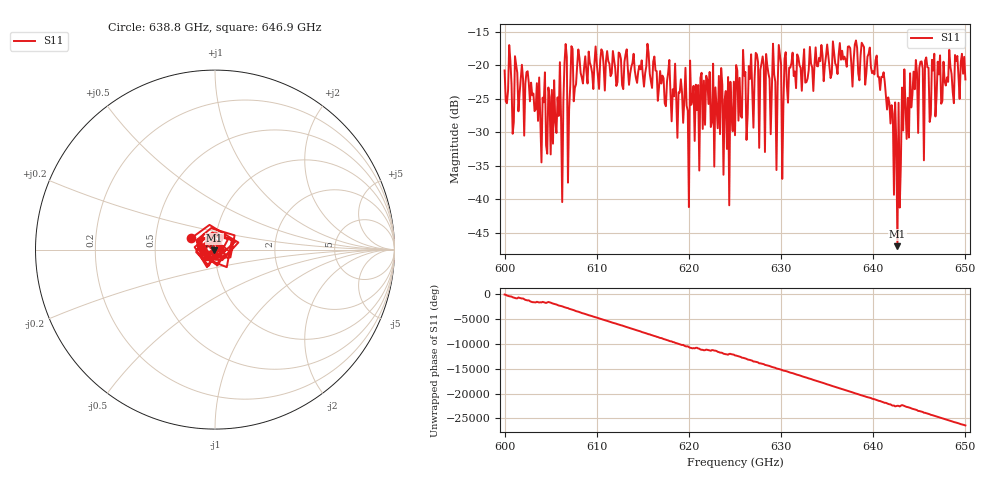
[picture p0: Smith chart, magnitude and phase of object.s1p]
!Created with skrf (http://scikit-rf.org).
# GHz S MA R 50.0
!freq magS11 angS11
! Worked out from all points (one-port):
!   401 points, 600 GHz to 650 GHz, reference 50 ohm
!   lowest |S11| = -47.0 dB at 642.6 GHz (marker M1), VSWR 1.01, Z = 49.7 - j0.282 ohm
!   |S11| at or under -10 dB: start of sweep to end of sweep
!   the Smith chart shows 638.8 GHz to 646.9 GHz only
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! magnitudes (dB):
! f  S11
! 600 GHz  -20.8
! 602.6 GHz  -22.7
! 604.8 GHz  -23.3
! 606.2 GHz  -40.4
! 608.1 GHz  -19.0
! 612.5 GHz  -18.3
! 615.5 GHz  -16.8
! 618.8 GHz  -30.8
! 619.4 GHz  -28.6
! 619.8 GHz  -26.1
! 620.8 GHz  -22.9
! 620.9 GHz  -26.7
! 622.1 GHz  -25.8
! 622.6 GHz  -19.8
! 624.4 GHz  -40.9
! 625 GHz  -30.5
! 627.2 GHz  -18.2
! 630.4 GHz  -19.1
! 630.6 GHz  -23.0
! 631.2 GHz  -18.1
! 637.5 GHz  -17.5
! 641.1 GHz  -21.1
! 642.6 GHz  -47.0
! 642.8 GHz  -25.6
! 643.2 GHz  -29.7
! 643.8 GHz  -24.9
! 644.5 GHz  -23.6
! 650 GHz  -22.1
